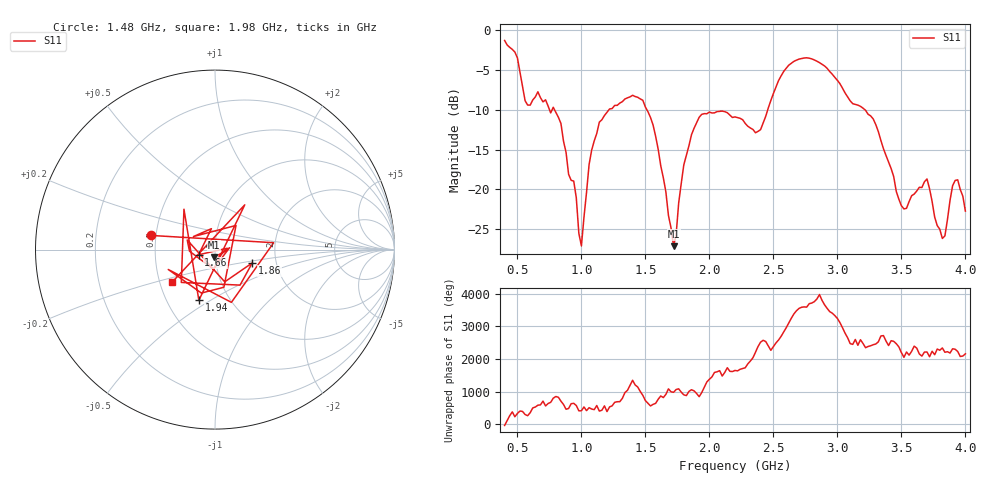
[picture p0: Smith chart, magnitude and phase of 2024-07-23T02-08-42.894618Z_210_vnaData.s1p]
!Created with skrf (http://scikit-rf.org).
# Hz S RI R 50.0
!freq ReS11 ImS11
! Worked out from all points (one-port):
!   181 points, 400 MHz to 4 GHz, reference 50 ohm
!   lowest |S11| = -27.2 dB at 1.72 GHz (marker M1), VSWR 1.09, Z = 49.1 - j4.25 ohm
!   |S11| at or under -10 dB: 790.5 MHz to 1.215 GHz (424.1 MHz wide, 42.3 % of centre); 1.512 GHz to 2.455 GHz (943.5 MHz wide, 47.6 % of centre); 3.216 GHz to end of sweep (the widest 3 of 4)
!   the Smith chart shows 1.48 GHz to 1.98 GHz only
!   S11 on the Smith chart (normalised r, x): 1.48 GHz: 0.47, +0.09; 1.66 GHz: 0.83, -0.05; 1.86 GHz: 1.50, -0.23; 1.94 GHz: 0.72, -0.45; 1.98 GHz: 0.58, -0.23
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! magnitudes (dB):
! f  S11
! 400 MHz  -1.3
! 500 MHz  -3.4
! 560 MHz  -8.8
! 780 MHz  -9.7
! 860 MHz  -13.9
! 940 MHz  -19.0
! 1 GHz  -27.1
! 1.08 GHz  -15.1
! 1.3 GHz  -9.1
! 1.48 GHz  -8.8
! 1.66 GHz  -20.3
! 1.72 GHz  -27.2
! 1.76 GHz  -21.7
! 1.86 GHz  -13.1
! 1.94 GHz  -10.6
! 1.98 GHz  -10.5
! 2.2 GHz  -10.9
! 2.4 GHz  -12.5
! 2.66 GHz  -3.9
! 2.9 GHz  -4.5
! 3.1 GHz  -8.9
! 3.28 GHz  -11.1
! 3.5 GHz  -22.1
! 3.56 GHz  -21.6
! 3.7 GHz  -18.7
! 3.82 GHz  -26.2
! 3.92 GHz  -18.9
! 4 GHz  -22.7
